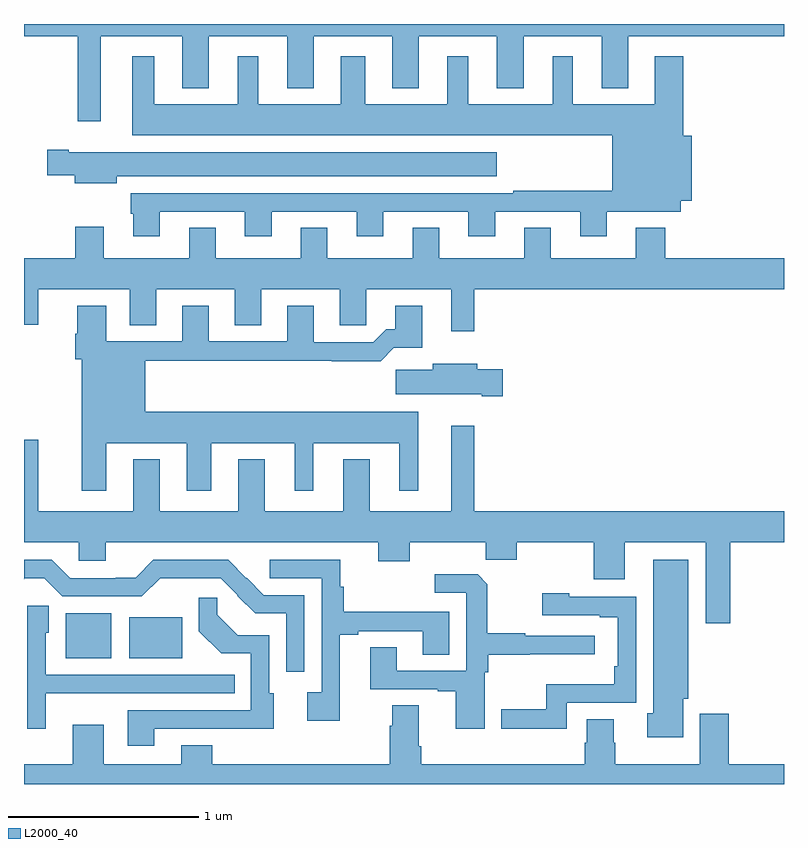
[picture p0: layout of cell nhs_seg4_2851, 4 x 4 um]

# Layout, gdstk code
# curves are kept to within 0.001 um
import gdstk
lib = gdstk.Library(unit=1e-6, precision=1e-09)
def R(c, l, rs):  # rectangles x0, y0, x1, y1
    for r in rs: c.add(gdstk.rectangle(r[:2], r[2:], *l))
def P(c, l, *ps):  # polygons
    for p in ps: c.add(gdstk.Polygon(p, *l))
L2000_40 = (2000, 40)

nhs_seg4_2851 = lib.new_cell('nhs_seg4_2851')
R(nhs_seg4_2851, L2000_40, [(261.221,777.563,261.46,777.799), (261.554,777.563,261.832,777.778)])
P(nhs_seg4_2851, L2000_40, [(261,780.836),(261.282,780.836),(261.282,780.387),(261.403,780.387),(261.403,780.836),(261.833,780.836),(261.833,780.563),(261.973,780.563),(261.973,780.836),(262.385,780.836),(262.385,780.563),(262.525,780.563),(262.525,780.836),(262.937,780.836),(262.937,780.563),(263.077,780.563),(263.077,780.836),(263.489,780.836),(263.489,780.563),(263.629,780.563),(263.629,780.836),(264.041,780.836),(264.041,780.563),(264.181,780.563),(264.181,780.836),(265,780.836),(265,780.9),(261,780.9)],
  [(261.715,779.913),(262.163,779.913),(262.163,779.784),(262.303,779.784),(262.303,779.913),(262.751,779.913),(262.751,779.784),(262.891,779.784),(262.891,779.913),(263.339,779.913),(263.339,779.784),(263.479,779.784),(263.479,779.913),(263.927,779.913),(263.927,779.784),(264.067,779.784),(264.067,779.912),(264.457,779.912),(264.457,779.969),(264.514,779.969),(264.514,780.313),(264.47,780.313),(264.47,780.73),(264.32,780.73),(264.32,780.478),(263.887,780.478),(263.887,780.73),(263.783,780.73),(263.783,780.478),(263.338,780.478),(263.338,780.73),(263.228,780.73),(263.228,780.478),(262.795,780.478),(262.795,780.73),(262.667,780.73),(262.667,780.478),(262.234,780.478),(262.234,780.73),(262.124,780.73),(262.124,780.478),(261.685,780.478),(261.685,780.73),(261.569,780.73),(261.569,780.314),(264.095,780.314),(264.095,780.022),(263.575,780.022),(263.575,780.009),(261.563,780.009),(261.563,779.901),(261.575,779.901),(261.575,779.784),(261.715,779.784)],
  [(261.487,780.098),(263.488,780.098),(263.488,780.226),(261.235,780.226),(261.235,780.239),(261.123,780.239),(261.123,780.104),(261.266,780.104),(261.266,780.062),(261.487,780.062)],
  [(262.597,779.828),(262.457,779.828),(262.457,779.668),(262.009,779.668),(262.009,779.828),(261.869,779.828),(261.869,779.668),(261.421,779.668),(261.421,779.833),(261.269,779.833),(261.269,779.668),(261,779.668),(261,779.316),(261.076,779.316),(261.076,779.504),(261.557,779.504),(261.557,779.314),(261.697,779.314),(261.697,779.504),(262.109,779.504),(262.109,779.314),(262.249,779.314),(262.249,779.504),(262.661,779.504),(262.661,779.314),(262.8,779.314),(262.8,779.504),(263.249,779.504),(263.249,779.283),(263.371,779.283),(263.371,779.504),(265,779.504),(265,779.668),(264.374,779.668),(264.374,779.827),(264.221,779.827),(264.221,779.668),(263.773,779.668),(263.773,779.828),(263.633,779.828),(263.633,779.668),(263.185,779.668),(263.185,779.828),(263.045,779.828),(263.045,779.668),(262.597,779.668)],
  [(261.433,778.694),(261.857,778.694),(261.857,778.443),(261.985,778.443),(261.985,778.694),(262.424,778.694),(262.424,778.443),(262.522,778.443),(262.522,778.694),(262.976,778.694),(262.976,778.443),(263.074,778.443),(263.074,778.858),(261.637,778.858),(261.637,779.128),(262.621,779.128),(262.621,779.126),(262.877,779.126),(262.946,779.195),(263.095,779.195),(263.095,779.416),(262.955,779.416),(262.955,779.293),(262.906,779.293),(262.839,779.226),(262.525,779.226),(262.525,779.416),(262.385,779.416),(262.385,779.229),(261.973,779.229),(261.973,779.416),(261.833,779.416),(261.833,779.229),(261.433,779.229),(261.433,779.416),(261.281,779.416),(261.281,779.27),(261.269,779.27),(261.269,779.136),(261.305,779.136),(261.305,778.443),(261.433,778.443)],
  [(263.521,779.082),(263.386,779.082),(263.386,779.113),(263.15,779.113),(263.15,779.081),(262.956,779.081),(262.956,778.952),(263.408,778.952),(263.408,778.94),(263.521,778.94)],
  [(264.716,778.172),(265,778.172),(265,778.336),(263.371,778.336),(263.371,778.786),(263.249,778.786),(263.249,778.336),(262.819,778.336),(262.819,778.609),(262.679,778.609),(262.679,778.336),(262.267,778.336),(262.267,778.609),(262.127,778.609),(262.127,778.336),(261.715,778.336),(261.715,778.609),(261.575,778.609),(261.575,778.336),(261.076,778.336),(261.076,778.711),(261,778.711),(261,778.172),(261.288,778.172),(261.288,778.074),(261.43,778.074),(261.43,778.172),(262.865,778.172),(262.865,778.073),(263.029,778.073),(263.029,778.172),(263.429,778.172),(263.429,778.079),(263.593,778.079),(263.593,778.172),(263.999,778.172),(263.999,777.978),(264.163,777.978),(264.163,778.172),(264.587,778.172),(264.587,777.747),(264.716,777.747)],
  [(264.469,777.348),(264.496,777.348),(264.496,778.081),(264.311,778.081),(264.311,777.272),(264.281,777.272),(264.281,777.146),(264.469,777.146)],
  [(262.663,777.685),(262.759,777.685),(262.759,777.705),(263.099,777.705),(263.099,777.58),(263.239,777.58),(263.239,777.806),(262.682,777.806),(262.682,777.938),(262.664,777.938),(262.664,778.08),(262.293,778.08),(262.293,777.984),(262.566,777.984),(262.566,777.382),(262.491,777.382),(262.491,777.234),(262.663,777.234)],
  [(262.476,777.894),(262.263,777.894),(262.075,778.08),(261.681,778.08),(261.587,777.986),(261.482,777.986),(261.482,777.984),(261.243,777.984),(261.147,778.08),(261,778.08),(261,777.978),(261.005,777.983),(261.106,777.983),(261.201,777.888),(261.621,777.888),(261.716,777.983),(262.035,777.984),(262.125,777.894),(262.123,777.892),(262.217,777.798),(262.38,777.798),(262.38,777.492),(262.476,777.492)],
  [(263.424,777.488),(263.444,777.488),(263.444,777.58),(263.663,777.58),(263.663,777.584),(264.004,777.584),(264.004,777.681),(263.639,777.681),(263.639,777.694),(263.439,777.694),(263.439,777.951),(263.387,778.003),(263.163,778.003),(263.163,777.906),(263.328,777.906),(263.328,777.495),(262.963,777.495),(262.963,777.62),(262.823,777.62),(262.823,777.399),(263.177,777.399),(263.177,777.387),(263.273,777.387),(263.273,777.192),(263.424,777.192)],
  [(263.856,777.327),(264.222,777.327),(264.222,777.885),(263.871,777.885),(263.871,777.904),(263.727,777.904),(263.727,777.789),(264.029,777.789),(264.029,777.777),(264.126,777.777),(264.126,777.52),(264.106,777.52),(264.106,777.424),(263.748,777.424),(263.748,777.293),(263.511,777.293),(263.511,777.191),(263.856,777.191)],
  [(261.685,777.192),(262.315,777.191),(262.315,777.378),(262.29,777.378),(262.29,777.684),(262.124,777.684),(262.016,777.792),(262.016,777.88),(261.921,777.88),(261.921,777.704),(262.037,777.588),(262.194,777.588),(262.194,777.288),(261.545,777.288),(261.545,777.102),(261.685,777.102)],
  [(261.115,777.377),(261.449,777.377),(261.449,777.378),(262.109,777.378),(262.109,777.474),(261.114,777.474),(261.114,777.696),(261.13,777.696),(261.13,777.839),(261.018,777.839),(261.018,777.192),(261.115,777.192)],
  [(265,777.004),(264.71,777.004),(264.71,777.271),(264.557,777.271),(264.557,777.004),(264.111,777.004),(264.111,777.117),(264.103,777.117),(264.103,777.242),(263.963,777.242),(263.963,777.117),(263.951,777.117),(263.951,777.004),(263.09,777.004),(263.09,777.1),(263.077,777.1),(263.077,777.314),(262.937,777.314),(262.937,777.206),(262.925,777.206),(262.925,777.004),(261.991,777.004),(261.991,777.103),(261.827,777.103),(261.827,777.004),(261.421,777.004),(261.421,777.211),(261.257,777.211),(261.257,777.004),(261,777.004),(261,776.9),(265,776.9)])

lib.write_gds('nhs_seg4_2851.gds')
